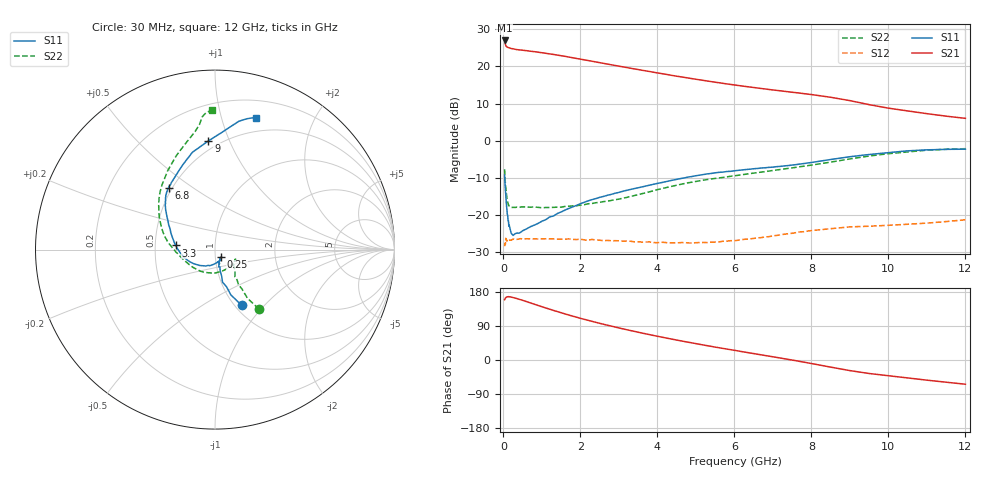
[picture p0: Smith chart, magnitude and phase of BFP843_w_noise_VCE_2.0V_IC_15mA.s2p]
! Infineon Technologies  Discrete & RF Semiconductors
! BFP843
! VCE =  2.0 V,  IC =  15 mA
! Common Emitter S-Parameters:  Aug 2013
# GHz  S  MA  R  50
!  f  S11  S21  S12  S22
! GHz  MAG  ANG  MAG  ANG  MAG  ANG  MAG  ANG
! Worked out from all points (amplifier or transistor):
!   103 points, 30 MHz to 12 GHz, reference 50 ohm
!   highest |S21| = 27.0 dB at 30 MHz (marker M1)
!   |S21| within 3 dB of that: start of sweep to 788.1 MHz
!   unconditionally stable (mu >= 1): 113.7 MHz to 10.81 GHz
!   at 400 MHz: K = 1.02, MAG = 24.6 dB, |S12| = -26.5 dB
!   at 3.7 GHz: K = 1.38, MAG = 19.4 dB, |S12| = -27.3 dB
!   at 12 GHz: K = 0.84, MSG = 13.7 dB, |S12| = -21.3 dB
!   lowest NFmin = 0.97 dB at 450 MHz
!   S11 on the Smith chart (normalised r, x): 30 MHz: 1.07, -0.76; 250 MHz: 1.06, -0.09; 3.3 GHz: 0.64, +0.03; 6.8 GHz: 0.48, +0.40; 9 GHz: 0.44, +0.84; 12 GHz: 0.36, +1.29
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0.03  0.3449 -64.4  22.36 159.1  0.0378 29.1  0.4115 -53.5
0.04  0.2672 -70.7  20.68 160.8  0.0408 19.9  0.3267 -56.3
0.05  0.2176 -72.7  19.77 163.5  0.0399 17.7  0.2641 -55.6
0.07  0.1525 -75.9  18.67 165.4  0.0455 19.5  0.2088 -53.9
0.1  0.1004 -73.9  18.16 166.8  0.0452 9.4  0.1533 -46.0
0.13  0.083 -71.7  17.9 167.2  0.0459 7.7  0.1344 -40.2
0.25  0.0528 -52.3  17.27 164.8  0.0472 5.5  0.1262 -26.2
0.8  0.0726 -80.6  15.81 147.3  0.0474 0.9  0.1281 -44.4
1.2  0.0936 -107.0  14.74 134.1  0.0473 -1.1  0.1254 -66.7
1.6  0.1159 -129.5  13.66 121.6  0.0471 -3.3  0.1297 -87.5
2.1  0.1474 -149.8  12.25 107.3  0.0459 -4.2  0.1369 -111.6
2.7  0.1833 -169.8  10.75 91.8  0.0452 -4.4  0.1527 -136.5
3.3  0.2197 174.0  9.455 77.7  0.0441 -4.6  0.1767 -157.7
4.1  0.2714 156.4  8.01 60.6  0.0427 -3.6  0.2242 -178.7
4.6  0.308 148.4  7.246 50.7  0.0422 -2.0  0.2574 172.9
5.1  0.3426 142.5  6.59 41.3  0.0423 0.9  0.2878 165.6
6.1  0.3974 134.0  5.531 23.8  0.0455 6.0  0.3412 153.3
6.8  0.4306 126.9  4.962 11.8  0.0504 7.7  0.3822 144.9
8.5  0.5565 103.1  3.835 -18.8  0.065 2.8  0.5133 120.8
9  0.6066 93.5  3.458 -28.0  0.0688 -0.6  0.5666 112.3
10.5  0.7281 79.4  2.511 -47.3  0.0746 -6.9  0.704 97.0
12  0.7663 72.8  1.995 -63.9  0.0857 -14.0  0.7787 91.2
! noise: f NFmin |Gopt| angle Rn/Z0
0.45  0.97  0.07  -172  0.03
0.9  0.97  0.08  -164  0.06
1.5  0.99  0.08  -156  0.12
1.9  1.01  0.08  -146  0.18
2.4  1.04  0.07  -134  0.26
3.5  1.09  0.07  -115  0.29
5.5  1.2  0.21  -114  0.36
10  1.8  0.51  -63  0.48
